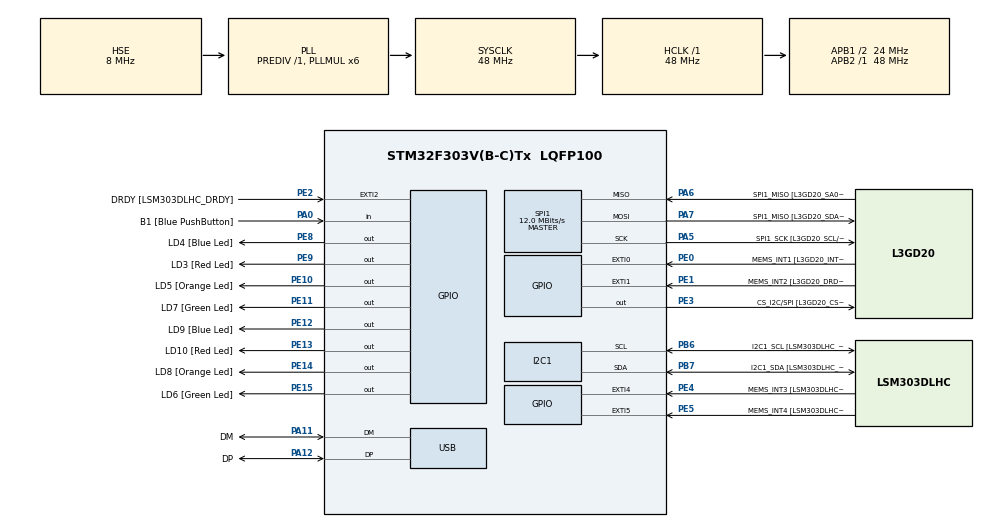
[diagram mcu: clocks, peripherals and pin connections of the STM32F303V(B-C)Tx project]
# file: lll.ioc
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I2C1.Timing=0x2000090E
I2C1.Timing-I2C=0x2000090E
Mcu.Family=STM32F3
Mcu.Name=STM32F303V(B-C)Tx
Mcu.Package=LQFP100
NVIC.PriorityGroup=NVIC_PRIORITYGROUP_0
PA0.GPIO_Label=B1 [Blue PushButton]
PA0.Signal=GPIO_Input
PA11.GPIO_Label=DM
PA11.Mode=Device
PA11.Signal=USB_DM
PA12.GPIO_Label=DP
PA12.Mode=Device
PA12.Signal=USB_DP
PA13.GPIO_Label=SWDIO
PA13.Mode=Serial_Wire
PA13.Signal=SYS_JTMS-SWDIO
PA14.GPIO_Label=SWCLK
PA14.Mode=Serial_Wire
PA14.Signal=SYS_JTCK-SWCLK
PA5.GPIO_Label=SPI1_SCK [L3GD20_SCL/SPC]
PA5.Mode=Full_Duplex_Master
PA5.Signal=SPI1_SCK
PA6.GPIO_Label=SPI1_MISO [L3GD20_SA0/SDO]
PA6.Mode=Full_Duplex_Master
PA6.Signal=SPI1_MISO
PA7.GPIO_Label=SPI1_MISO [L3GD20_SDA/SDI/SDO]
PA7.Mode=Full_Duplex_Master
PA7.Signal=SPI1_MOSI
PB3.GPIO_Label=SWO
PB3.Signal=SYS_JTDO-TRACESWO
PB6.GPIO_Label=I2C1_SCL [LSM303DLHC_SCL]
PB6.Mode=I2C
PB6.Signal=I2C1_SCL
PB7.GPIO_Label=I2C1_SDA [LSM303DLHC_SDA]
PB7.Mode=I2C
PB7.Signal=I2C1_SDA
PC14-OSC32_IN.GPIO_Label=OSC32_IN
PC14-OSC32_IN.Signal=RCC_OSC32_IN
PC15-OSC32_OUT.GPIO_Label=OSC32_OUT
PC15-OSC32_OUT.Signal=RCC_OSC32_OUT
PE0.GPIO_Label=MEMS_INT1 [L3GD20_INT1]
PE0.GPIO_ModeDefaultEXTI=GPIO_MODE_EVT_RISING
PE0.Signal=GPXTI0
PE1.GPIO_Label=MEMS_INT2 [L3GD20_DRDY/INT2]
PE1.GPIO_ModeDefaultEXTI=GPIO_MODE_EVT_RISING
PE1.Signal=GPXTI1
PE10.GPIO_Label=LD5 [Orange Led]
PE10.Signal=GPIO_Output
PE11.GPIO_Label=LD7 [Green Led]
PE11.Signal=GPIO_Output
PE12.GPIO_Label=LD9 [Blue Led]
PE12.Signal=GPIO_Output
PE13.GPIO_Label=LD10 [Red Led]
PE13.Signal=GPIO_Output
PE14.GPIO_Label=LD8 [Orange Led]
PE14.Signal=GPIO_Output
PE15.GPIO_Label=LD6 [Green Led]
PE15.Signal=GPIO_Output
PE2.GPIO_Label=DRDY [LSM303DLHC_DRDY]
PE2.GPIO_ModeDefaultEXTI=GPIO_MODE_EVT_RISING
PE2.Signal=GPXTI2
PE3.GPIO_Label=CS_I2C/SPI [L3GD20_CS_I2C/SPI]
PE3.Signal=GPIO_Output
PE4.GPIO_Label=MEMS_INT3 [LSM303DLHC_INT1]
PE4.GPIO_ModeDefaultEXTI=GPIO_MODE_EVT_RISING
PE4.Signal=GPXTI4
PE5.GPIO_Label=MEMS_INT4 [LSM303DLHC_INT2]
PE5.GPIO_ModeDefaultEXTI=GPIO_MODE_EVT_RISING
PE5.Signal=GPXTI5
PE8.GPIO_Label=LD4 [Blue Led]
PE8.Signal=GPIO_Output
PE9.GPIO_Label=LD3 [Red Led]
PE9.Signal=GPIO_Output
PF0-OSC_IN.GPIO_Label=OSC_IN
PF0-OSC_IN.Mode=HSE-External-Clock-Source
PF0-OSC_IN.Signal=RCC_OSC_IN
PF1-OSC_OUT.GPIO_Label=OSC_OUT
PF1-OSC_OUT.Signal=RCC_OSC_OUT
ProjectManager.HeapSize=0x200
ProjectManager.StackSize=0x400
ProjectManager.TargetToolchain=MDK-ARM V5
RCC.AHBFreq_Value=48000000
RCC.APB1CLKDivider=RCC_HCLK_DIV2
RCC.APB1Freq_Value=24000000
RCC.APB1TimFreq_Value=48000000
RCC.APB2Freq_Value=48000000
RCC.APB2TimFreq_Value=48000000
RCC.CortexFreq_Value=48000000
RCC.HCLKFreq_Value=48000000
RCC.HSE_VALUE=8000000
RCC.HSI_VALUE=8000000
RCC.LSE_VALUE=32768
RCC.PLLMUL=RCC_PLL_MUL6
RCC.SYSCLKFreq_VALUE=48000000
RCC.SYSCLKSourceVirtual=RCC_SYSCLKSOURCE_PLLCLK
RCC.USBFreq_Value=48000000
SPI1.BaudRatePrescaler=SPI_BAUDRATEPRESCALER_4
SPI1.BaudRatePrescaler-Full_Duplex_Master=SPI_BAUDRATEPRESCALER_2
SPI1.CalculateBaudRate=12.0 MBits/s
SPI1.CalculateBaudRate-Full_Duplex_Master=24.0 MBits/s
SPI1.Direction=SPI_DIRECTION_2LINES
SPI1.Mode=SPI_MODE_MASTER
SPI1.Mode-Full_Duplex_Master=SPI_MODE_MASTER
SPI1.VirtualType=VM_MASTER
board=STM32F3DISCOVERY

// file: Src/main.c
/**
  ******************************************************************************
  * @file           : main.c
  * @brief          : Main program body
  ******************************************************************************
  ** This notice applies to any and all portions of this file
  * that are not between comment pairs USER CODE BEGIN and
  * USER CODE END. Other portions of this file, whether
  * inserted by the user or by software development tools
  * are owned by their respective copyright owners.
  *
  * COPYRIGHT(c) 2020 STMicroelectronics
  *
  * Redistribution and use in source and binary forms, with or without modification,
  * are permitted provided that the following conditions are met:
  *   1. Redistributions of source code must retain the above copyright notice,
  *      this list of conditions and the following disclaimer.
  *   2. Redistributions in binary form must reproduce the above copyright notice,
  *      this list of conditions and the following disclaimer in the documentation
  *      and/or other materials provided with the distribution.
  *   3. Neither the name of STMicroelectronics nor the names of its contributors
  *      may be used to endorse or promote products derived from this software
  *      without specific prior written permission.
  *
  * THIS SOFTWARE IS PROVIDED BY THE COPYRIGHT HOLDERS AND CONTRIBUTORS "AS IS"
  * AND ANY EXPRESS OR IMPLIED WARRANTIES, INCLUDING, BUT NOT LIMITED TO, THE
  * IMPLIED WARRANTIES OF MERCHANTABILITY AND FITNESS FOR A PARTICULAR PURPOSE ARE
  * DISCLAIMED. IN NO EVENT SHALL THE COPYRIGHT HOLDER OR CONTRIBUTORS BE LIABLE
  * FOR ANY DIRECT, INDIRECT, INCIDENTAL, SPECIAL, EXEMPLARY, OR CONSEQUENTIAL
  * DAMAGES (INCLUDING, BUT NOT LIMITED TO, PROCUREMENT OF SUBSTITUTE GOODS OR
  * SERVICES; LOSS OF USE, DATA, OR PROFITS; OR BUSINESS INTERRUPTION) HOWEVER
  * CAUSED AND ON ANY THEORY OF LIABILITY, WHETHER IN CONTRACT, STRICT LIABILITY,
  * OR TORT (INCLUDING NEGLIGENCE OR OTHERWISE) ARISING IN ANY WAY OUT OF THE USE
  * OF THIS SOFTWARE, EVEN IF ADVISED OF THE POSSIBILITY OF SUCH DAMAGE.
  *
  ******************************************************************************
  */
#include "main.h"
#include "stm32f3xx_hal.h"

I2C_HandleTypeDef hi2c1;

SPI_HandleTypeDef hspi1;

PCD_HandleTypeDef hpcd_USB_FS;

/* USER CODE BEGIN PV */
/* Private variables ---------------------------------------------------------*/

/* USER CODE END PV */

void SystemClock_Config(void);
static void MX_GPIO_Init(void);
static void MX_I2C1_Init(void);
static void MX_SPI1_Init(void);
static void MX_USB_PCD_Init(void);

/* USER CODE BEGIN PFP */
/* Private function prototypes -----------------------------------------------*/

/* USER CODE END PFP */

int main(void)
{

  /* MCU Configuration----------------------------------------------------------*/

  /* Reset of all peripherals, Initializes the Flash interface and the Systick. */
  HAL_Init();

  /* Configure the system clock */
  SystemClock_Config();

  /* Initialize all configured peripherals */
  MX_GPIO_Init();
  MX_I2C1_Init();
  MX_SPI1_Init();
  MX_USB_PCD_Init();

  /* Infinite loop */
  while (1)
  {

  /* USER CODE BEGIN 3 */

//			int sw = 1;
//if(sw==1){
//		HAL_GPIO_WritePin(GPIOE,GPIO_PIN_8,1);
//		 HAL_GPIO_WritePin(GPIOE,GPIO_PIN_12,1);
//	   sw=0;
//		 HAL_Delay(500);
//}
//

						  HAL_GPIO_TogglePin(GPIOE,GPIO_PIN_10);
		HAL_GPIO_TogglePin(GPIOE,GPIO_PIN_11);
		HAL_GPIO_TogglePin(GPIOE,GPIO_PIN_12);
		HAL_GPIO_TogglePin(GPIOE,GPIO_PIN_13);
		HAL_GPIO_TogglePin(GPIOE,GPIO_PIN_14);
		HAL_GPIO_TogglePin(GPIOE,GPIO_PIN_15);

			if(HAL_GPIO_ReadPin(GPIOE,GPIO_PIN_8)){
				  HAL_GPIO_WritePin(GPIOE,GPIO_PIN_8,0);
				  HAL_GPIO_WritePin(GPIOE,GPIO_PIN_12,0);

				  if(HAL_GPIO_ReadPin(GPIOA,GPIO_PIN_0)){
			       HAL_GPIO_WritePin(GPIOE,GPIO_PIN_15,1);
						 HAL_GPIO_WritePin(GPIOE,GPIO_PIN_11,1);
				  }else{
			       HAL_GPIO_WritePin(GPIOE,GPIO_PIN_9,1);
						 HAL_GPIO_WritePin(GPIOE,GPIO_PIN_13,1);
				  }
		  }else if(HAL_GPIO_ReadPin(GPIOE,GPIO_PIN_9)){
				  HAL_GPIO_WritePin(GPIOE,GPIO_PIN_9,0);
				  HAL_GPIO_WritePin(GPIOE,GPIO_PIN_13,0);

				  if(HAL_GPIO_ReadPin(GPIOA,GPIO_PIN_0)){
			       HAL_GPIO_WritePin(GPIOE,GPIO_PIN_8,1);
						 HAL_GPIO_WritePin(GPIOE,GPIO_PIN_12,1);
				  }else{
			       HAL_GPIO_WritePin(GPIOE,GPIO_PIN_10,1);
						 HAL_GPIO_WritePin(GPIOE,GPIO_PIN_14,1);
				  }
		  }else if(HAL_GPIO_ReadPin(GPIOE,GPIO_PIN_10)){
				  HAL_GPIO_WritePin(GPIOE,GPIO_PIN_10,0);
				  HAL_GPIO_WritePin(GPIOE,GPIO_PIN_14,0);

				  if(HAL_GPIO_ReadPin(GPIOA,GPIO_PIN_0)){
			       HAL_GPIO_WritePin(GPIOE,GPIO_PIN_9,1);
						 HAL_GPIO_WritePin(GPIOE,GPIO_PIN_13,1);
				  }else{
			       HAL_GPIO_WritePin(GPIOE,GPIO_PIN_11,1);
						 HAL_GPIO_WritePin(GPIOE,GPIO_PIN_15,1);
				  }
		  }else if(HAL_GPIO_ReadPin(GPIOE,GPIO_PIN_11)){
				  HAL_GPIO_WritePin(GPIOE,GPIO_PIN_11,0);
				  HAL_GPIO_WritePin(GPIOE,GPIO_PIN_15,0);

				  if(HAL_GPIO_ReadPin(GPIOA,GPIO_PIN_0)){
			       HAL_GPIO_WritePin(GPIOE,GPIO_PIN_10,10);
						 HAL_GPIO_WritePin(GPIOE,GPIO_PIN_14,1);
				  }else{
			       HAL_GPIO_WritePin(GPIOE,GPIO_PIN_8,12);
						 HAL_GPIO_WritePin(GPIOE,GPIO_PIN_12,1);
				  }
		  } else {
			 HAL_GPIO_WritePin(GPIOE,GPIO_PIN_8,1);
				  HAL_GPIO_WritePin(GPIOE,GPIO_PIN_12,1);
			}
			HAL_Delay(1000);

  }
  /* USER CODE END 3 */

}

void SystemClock_Config(void)
{

  RCC_OscInitTypeDef RCC_OscInitStruct;
  RCC_ClkInitTypeDef RCC_ClkInitStruct;
  RCC_PeriphCLKInitTypeDef PeriphClkInit;

    /**Initializes the CPU, AHB and APB busses clocks
    */
  RCC_OscInitStruct.OscillatorType = RCC_OSCILLATORTYPE_HSI|RCC_OSCILLATORTYPE_HSE;
  RCC_OscInitStruct.HSEState = RCC_HSE_BYPASS;
  RCC_OscInitStruct.HSEPredivValue = RCC_HSE_PREDIV_DIV1;
  RCC_OscInitStruct.HSIState = RCC_HSI_ON;
  RCC_OscInitStruct.HSICalibrationValue = 16;
  RCC_OscInitStruct.PLL.PLLState = RCC_PLL_ON;
  RCC_OscInitStruct.PLL.PLLSource = RCC_PLLSOURCE_HSE;
  RCC_OscInitStruct.PLL.PLLMUL = RCC_PLL_MUL6;
  if (HAL_RCC_OscConfig(&RCC_OscInitStruct) != HAL_OK)
  {
    _Error_Handler(__FILE__, __LINE__);
  }

    /**Initializes the CPU, AHB and APB busses clocks
    */
  RCC_ClkInitStruct.ClockType = RCC_CLOCKTYPE_HCLK|RCC_CLOCKTYPE_SYSCLK
                              |RCC_CLOCKTYPE_PCLK1|RCC_CLOCKTYPE_PCLK2;
  RCC_ClkInitStruct.SYSCLKSource = RCC_SYSCLKSOURCE_PLLCLK;
  RCC_ClkInitStruct.AHBCLKDivider = RCC_SYSCLK_DIV1;
  RCC_ClkInitStruct.APB1CLKDivider = RCC_HCLK_DIV2;
  RCC_ClkInitStruct.APB2CLKDivider = RCC_HCLK_DIV1;

  if (HAL_RCC_ClockConfig(&RCC_ClkInitStruct, FLASH_LATENCY_1) != HAL_OK)
  {
    _Error_Handler(__FILE__, __LINE__);
  }

  PeriphClkInit.PeriphClockSelection = RCC_PERIPHCLK_USB|RCC_PERIPHCLK_I2C1;
  PeriphClkInit.I2c1ClockSelection = RCC_I2C1CLKSOURCE_HSI;
  PeriphClkInit.USBClockSelection = RCC_USBCLKSOURCE_PLL;
  if (HAL_RCCEx_PeriphCLKConfig(&PeriphClkInit) != HAL_OK)
  {
    _Error_Handler(__FILE__, __LINE__);
  }

    /**Configure the Systick interrupt time
    */
  HAL_SYSTICK_Config(HAL_RCC_GetHCLKFreq()/1000);

    /**Configure the Systick
    */
  HAL_SYSTICK_CLKSourceConfig(SYSTICK_CLKSOURCE_HCLK);

  /* SysTick_IRQn interrupt configuration */
  HAL_NVIC_SetPriority(SysTick_IRQn, 0, 0);
}

/* I2C1 init function */
static void MX_I2C1_Init(void)
{

  hi2c1.Instance = I2C1;
  hi2c1.Init.Timing = 0x2000090E;
  hi2c1.Init.OwnAddress1 = 0;
  hi2c1.Init.AddressingMode = I2C_ADDRESSINGMODE_7BIT;
  hi2c1.Init.DualAddressMode = I2C_DUALADDRESS_DISABLE;
  hi2c1.Init.OwnAddress2 = 0;
  hi2c1.Init.OwnAddress2Masks = I2C_OA2_NOMASK;
  hi2c1.Init.GeneralCallMode = I2C_GENERALCALL_DISABLE;
  hi2c1.Init.NoStretchMode = I2C_NOSTRETCH_DISABLE;
  if (HAL_I2C_Init(&hi2c1) != HAL_OK)
  {
    _Error_Handler(__FILE__, __LINE__);
  }

    /**Configure Analogue filter
    */
  if (HAL_I2CEx_ConfigAnalogFilter(&hi2c1, I2C_ANALOGFILTER_ENABLE) != HAL_OK)
  {
    _Error_Handler(__FILE__, __LINE__);
  }

    /**Configure Digital filter
    */
  if (HAL_I2CEx_ConfigDigitalFilter(&hi2c1, 0) != HAL_OK)
  {
    _Error_Handler(__FILE__, __LINE__);
  }

}

/* SPI1 init function */
static void MX_SPI1_Init(void)
{

  /* SPI1 parameter configuration*/
  hspi1.Instance = SPI1;
  hspi1.Init.Mode = SPI_MODE_MASTER;
  hspi1.Init.Direction = SPI_DIRECTION_2LINES;
  hspi1.Init.DataSize = SPI_DATASIZE_4BIT;
  hspi1.Init.CLKPolarity = SPI_POLARITY_LOW;
  hspi1.Init.CLKPhase = SPI_PHASE_1EDGE;
  hspi1.Init.NSS = SPI_NSS_SOFT;
  hspi1.Init.BaudRatePrescaler = SPI_BAUDRATEPRESCALER_4;
  hspi1.Init.FirstBit = SPI_FIRSTBIT_MSB;
  hspi1.Init.TIMode = SPI_TIMODE_DISABLE;
  hspi1.Init.CRCCalculation = SPI_CRCCALCULATION_DISABLE;
  hspi1.Init.CRCPolynomial = 7;
  hspi1.Init.CRCLength = SPI_CRC_LENGTH_DATASIZE;
  hspi1.Init.NSSPMode = SPI_NSS_PULSE_ENABLE;
  if (HAL_SPI_Init(&hspi1) != HAL_OK)
  {
    _Error_Handler(__FILE__, __LINE__);
  }

}

/* USB init function */
static void MX_USB_PCD_Init(void)
{

  hpcd_USB_FS.Instance = USB;
  hpcd_USB_FS.Init.dev_endpoints = 8;
  hpcd_USB_FS.Init.speed = PCD_SPEED_FULL;
  hpcd_USB_FS.Init.ep0_mps = DEP0CTL_MPS_64;
  hpcd_USB_FS.Init.phy_itface = PCD_PHY_EMBEDDED;
  hpcd_USB_FS.Init.low_power_enable = DISABLE;
  hpcd_USB_FS.Init.battery_charging_enable = DISABLE;
  if (HAL_PCD_Init(&hpcd_USB_FS) != HAL_OK)
  {
    _Error_Handler(__FILE__, __LINE__);
  }

}

/** Configure pins as
        * Analog
        * Input
        * Output
        * EVENT_OUT
        * EXTI
*/
static void MX_GPIO_Init(void)
{

  GPIO_InitTypeDef GPIO_InitStruct;

  /* GPIO Ports Clock Enable */
  __HAL_RCC_GPIOE_CLK_ENABLE();
  __HAL_RCC_GPIOC_CLK_ENABLE();
  __HAL_RCC_GPIOF_CLK_ENABLE();
  __HAL_RCC_GPIOA_CLK_ENABLE();
  __HAL_RCC_GPIOB_CLK_ENABLE();

  /*Configure GPIO pin Output Level */
  HAL_GPIO_WritePin(GPIOE, CS_I2C_SPI_Pin|LD4_Pin|LD3_Pin|LD5_Pin
                          |LD7_Pin|LD9_Pin|LD10_Pin|LD8_Pin
                          |LD6_Pin, GPIO_PIN_RESET);

  /*Configure GPIO pins : DRDY_Pin MEMS_INT3_Pin MEMS_INT4_Pin MEMS_INT1_Pin
                           MEMS_INT2_Pin */
  GPIO_InitStruct.Pin = DRDY_Pin|MEMS_INT3_Pin|MEMS_INT4_Pin|MEMS_INT1_Pin
                          |MEMS_INT2_Pin;
  GPIO_InitStruct.Mode = GPIO_MODE_EVT_RISING;
  GPIO_InitStruct.Pull = GPIO_NOPULL;
  HAL_GPIO_Init(GPIOE, &GPIO_InitStruct);

  /*Configure GPIO pins : CS_I2C_SPI_Pin LD4_Pin LD3_Pin LD5_Pin
                           LD7_Pin LD9_Pin LD10_Pin LD8_Pin
                           LD6_Pin */
  GPIO_InitStruct.Pin = CS_I2C_SPI_Pin|LD4_Pin|LD3_Pin|LD5_Pin
                          |LD7_Pin|LD9_Pin|LD10_Pin|LD8_Pin
                          |LD6_Pin;
  GPIO_InitStruct.Mode = GPIO_MODE_OUTPUT_PP;
  GPIO_InitStruct.Pull = GPIO_NOPULL;
  GPIO_InitStruct.Speed = GPIO_SPEED_FREQ_LOW;
  HAL_GPIO_Init(GPIOE, &GPIO_InitStruct);

  /*Configure GPIO pin : B1_Pin */
  GPIO_InitStruct.Pin = B1_Pin;
  GPIO_InitStruct.Mode = GPIO_MODE_INPUT;
  GPIO_InitStruct.Pull = GPIO_NOPULL;
  HAL_GPIO_Init(B1_GPIO_Port, &GPIO_InitStruct);

}

void _Error_Handler(char *file, int line)
{
  while(1)
  {
  }
}

/************************ (C) COPYRIGHT STMicroelectronics *****END OF FILE****/
